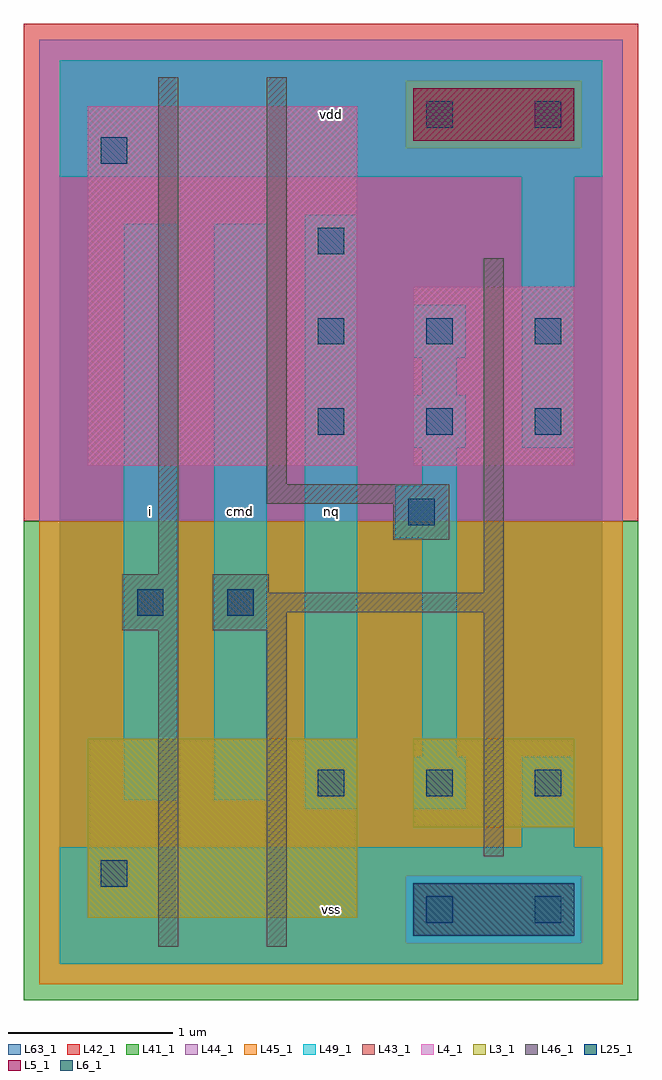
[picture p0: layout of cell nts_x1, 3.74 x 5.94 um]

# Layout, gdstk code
import gdstk
lib = gdstk.Library(unit=1e-6, precision=1e-09)
def R(c, l, rs):  # rectangles x0, y0, x1, y1
    for r in rs: c.add(gdstk.rectangle(r[:2], r[2:], *l))
def A(c, l, x, y, w, h, nx, ny, dx, dy):  # array of equal rectangles
    R(c, l, [(x+i*dx, y+j*dy, x+i*dx+w, y+j*dy+h) for i in range(nx) for j in range(ny)])
L3_1 = (3, 1)
L4_1 = (4, 1)
L5_1 = (5, 1)
L6_1 = (6, 1)
L25_1 = (25, 1)
L41_1 = (41, 1)
L42_1 = (42, 1)
L43_1 = (43, 1)
L44_1 = (44, 1)
L45_1 = (45, 1)
L46_1 = (46, 1)
L49_1 = (49, 1)
L63_1 = (63, 1)

nts_x1 = lib.new_cell('nts_x1')
R(nts_x1, L3_1, [(0.17,0.28,1.81,1.37), (2.15,0.83,3.13,1.37)])
R(nts_x1, L4_1, [(0.17,3.03,1.81,5.22), (2.15,3.03,3.13,4.12)])
R(nts_x1, L5_1, [(2.15,5.01,3.13,5.33)])
R(nts_x1, L6_1, [(2.15,0.17,3.13,0.49)])
A(nts_x1, L25_1, 1.57, 1.02, 0.16, 0.16, 3, 2, 0.66, 2.2)
A(nts_x1, L25_1, 1.57, 3.77, 0.16, 0.16, 3, 1, 0.66, 0)
R(nts_x1, L25_1, [(2.23,0.25,2.39,0.41), (2.89,0.25,3.05,0.41), (0.25,0.47,0.41,0.63), (0.47,2.12,0.63,2.28), (1.02,2.12,1.18,2.28), (2.12,2.67,2.28,2.83), (1.57,4.32,1.73,4.48), (0.25,4.87,0.41,5.03), (2.23,5.09,2.39,5.25), (2.89,5.09,3.05,5.25)])
R(nts_x1, L41_1, [(-0.22,-0.22,3.52,2.695)])
R(nts_x1, L42_1, [(-0.22,2.695,3.52,5.72)])
R(nts_x1, L43_1, [(2.15,0.17,3.13,0.49), (0.17,0.28,1.81,1.37), (2.15,0.83,3.13,1.37), (0.17,3.03,1.81,5.22), (2.15,3.03,3.13,4.12), (2.15,5.01,3.13,5.33)])
R(nts_x1, L44_1, [(2.105,0.125,3.175,0.535), (-0.125,2.695,3.425,4.965), (-0.125,4.965,2.105,5.375), (3.175,4.965,3.425,5.375), (-0.125,5.375,3.425,5.625)])
R(nts_x1, L45_1, [(-0.125,-0.125,3.425,0.125), (-0.125,0.125,2.105,0.535), (3.175,0.125,3.425,0.535), (-0.125,0.535,3.425,2.695), (2.105,4.965,3.175,5.375)])
R(nts_x1, L46_1, [(0.6,0.105,0.72,2.03), (1.26,0.105,1.38,2.03), (2.58,0.655,2.7,2.14), (0.38,2.03,0.72,2.37), (0.93,2.03,1.38,2.14), (0.93,2.14,2.7,2.26), (0.93,2.26,1.27,2.37), (2.58,2.26,2.7,4.295), (0.6,2.37,0.72,5.395), (2.03,2.58,2.37,2.8), (1.26,2.8,2.37,2.92), (1.26,2.92,1.38,5.395)])
R(nts_x1, L49_1, [(0,0,3.3,0.71), (2.81,0.71,3.13,1.26), (1.49,0.94,1.81,4.56), (2.15,0.94,2.47,1.26), (0.39,0.995,0.71,4.505), (0.94,0.995,1.26,4.505), (2.205,1.26,2.415,2.59), (2.04,2.59,2.415,2.91), (2.205,2.91,2.415,3.14), (2.15,3.14,2.47,3.46), (2.81,3.14,3.13,4.79), (2.205,3.46,2.415,3.69), (2.15,3.69,2.47,4.01), (0,4.79,3.3,5.5)])
R(nts_x1, L63_1, [(0,0,3.3,5.5)])
nts_x1.add(gdstk.Label('i', (0.55,2.75), layer=49, texttype=1))
nts_x1.add(gdstk.Label('i', (0.55,2.75), layer=49, texttype=1))
nts_x1.add(gdstk.Label('cmd', (1.1,2.75), layer=49, texttype=1))
nts_x1.add(gdstk.Label('cmd', (1.1,2.75), layer=49, texttype=1))
nts_x1.add(gdstk.Label('vss', (1.65,0.33), layer=49, texttype=1))
nts_x1.add(gdstk.Label('vss', (1.65,0.33), layer=49, texttype=1))
nts_x1.add(gdstk.Label('nq', (1.65,2.75), layer=49, texttype=1))
nts_x1.add(gdstk.Label('nq', (1.65,2.75), layer=49, texttype=1))
nts_x1.add(gdstk.Label('vdd', (1.65,5.17), layer=49, texttype=1))
nts_x1.add(gdstk.Label('vdd', (1.65,5.17), layer=49, texttype=1))

lib.write_gds('nts_x1.gds')
